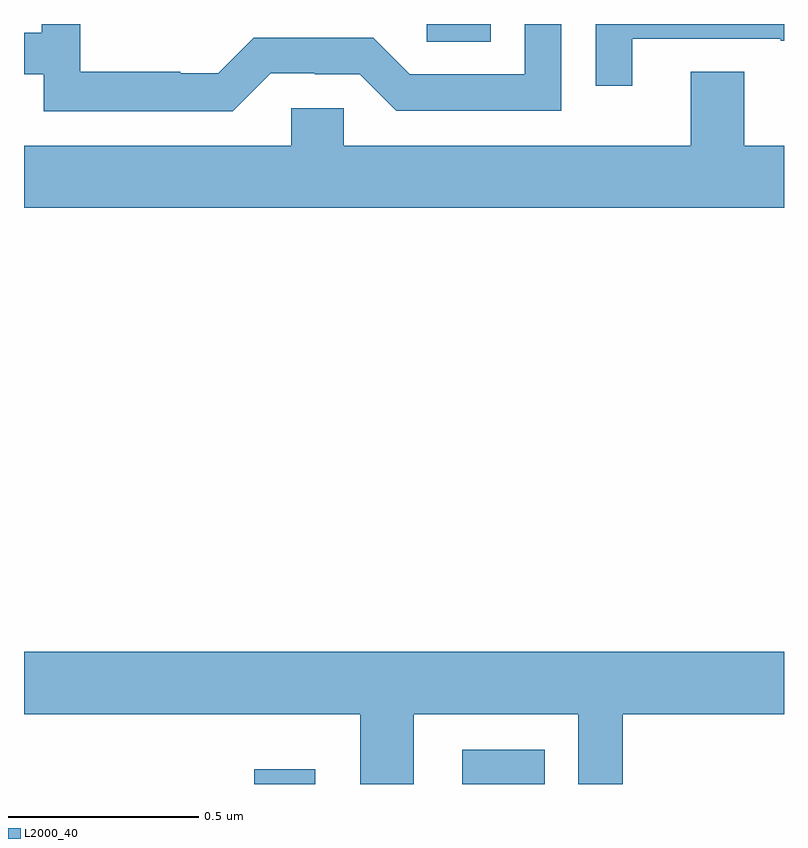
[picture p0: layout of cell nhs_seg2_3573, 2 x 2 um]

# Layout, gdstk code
import gdstk
lib = gdstk.Library(unit=1e-6, precision=1e-09)
def R(c, l, rs):  # rectangles x0, y0, x1, y1
    for r in rs: c.add(gdstk.rectangle(r[:2], r[2:], *l))
def P(c, l, *ps):  # polygons
    for p in ps: c.add(gdstk.Polygon(p, *l))
L2000_40 = (2000, 40)

nhs_seg2_3573 = lib.new_cell('nhs_seg2_3573')
R(nhs_seg2_3573, L2000_40, [(155.606,632.8,155.767,632.839), (156.153,632.8,156.37,632.89), (156.06,634.753,156.228,634.8)])
P(nhs_seg2_3573, L2000_40, [(156.601,634.761),(156.991,634.761),(156.991,634.756),(157,634.756),(157,634.8),(156.505,634.8),(156.505,634.638),(156.601,634.638)],
  [(155.649,634.671),(155.765,634.671),(155.765,634.668),(155.883,634.668),(155.979,634.572),(156.414,634.572),(156.414,634.8),(156.318,634.8),(156.318,634.668),(156.015,634.668),(155.919,634.764),(155.604,634.764),(155.511,634.671),(155.411,634.671),(155.411,634.675),(155.148,634.675),(155.148,634.8),(155.047,634.8),(155.047,634.777),(155,634.777),(155,634.668),(155.052,634.668),(155.052,634.571),(155.549,634.571)],
  [(157,634.48),(156.895,634.48),(156.895,634.675),(156.755,634.675),(156.755,634.48),(155.841,634.48),(155.841,634.578),(155.703,634.578),(155.703,634.48),(155,634.48),(155,634.316),(157,634.316)],
  [(156.025,632.984),(156.459,632.984),(156.459,632.8),(156.575,632.8),(156.575,632.984),(157,632.984),(157,633.148),(155,633.148),(155,632.984),(155.885,632.984),(155.885,632.8),(156.025,632.8)])

lib.write_gds('nhs_seg2_3573.gds')
